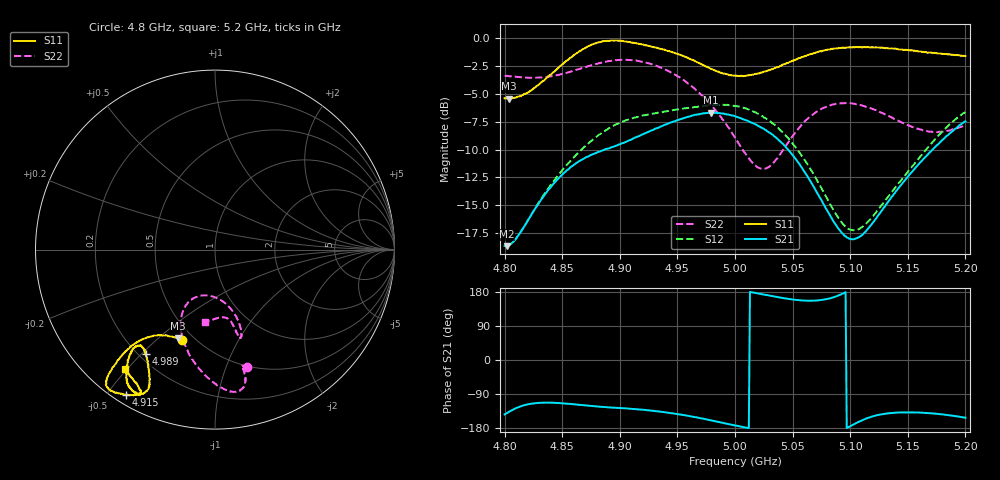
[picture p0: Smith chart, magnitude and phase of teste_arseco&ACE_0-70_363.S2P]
! Network Analyzer HP8722D
! Hewlett-Packard
! Data name: Linha & Wilkinson
! Saver's name: Rodrigo Anjos
! Comments: Teste da utilização de aquisição
! continua pelo VNA HP8722D
! Time and date: 8/5/2025 15:47
!  Frequency  S11  S21  S12  S22
# HZ  S  MA R 50
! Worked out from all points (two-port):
!   401 points, 4.8 GHz to 5.2 GHz, reference 50 ohm
!   highest |S21| = -6.69 dB at 4.979 GHz (marker M1); lowest = -18.7 dB at 4.802 GHz (marker M2)
!   |S21| within 3 dB of the highest: 4.896 GHz to 5.043 GHz (147.3 MHz wide, 2.96 % of centre); 5.174493 GHz to end of sweep
!   lowest |S11| = -5.4 dB at 4.804 GHz (marker M3), VSWR 3.31, Z = 21 - j29.1 ohm
!   |S11| at or under -10 dB: nowhere
!   |S22| runs from -11.7 to -1.9 dB; largest |S21 - S12| = 0.61
!   S11 on the Smith chart (normalised r, x): 4.8 GHz: 0.43, -0.61; 4.915 GHz: 0.03, -0.56; 4.989 GHz: 0.23, -0.51; 5.2 GHz: 0.11, -0.49
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4.8e9  0.5374 -109.8  0.1166 -143.6  0.1167 -87.7  0.6792 -74.7
4.802e9  0.5356 -111.2  0.1163 -140.0  0.1163 -84.0  0.6779 -74.8
4.804e9  0.5355 -112.6  0.1177 -136.4  0.1178 -80.4  0.6747 -75.1
4.834e9  0.6452 -129.1  0.1953 -112.5  0.1977 -53.2  0.6679 -77.0
4.867e9  0.8876 -130.7  0.2848 -118.8  0.3167 -53.1  0.735 -76.6
4.887e9  0.972 -128.5  0.3164 -124.1  0.3829 -57.6  0.7828 -78.2
4.915e9  0.9486 -121.6  0.3609 -130.1  0.443 -66.4  0.7922 -84.4
4.934e9  0.9013 -116.8  0.3973 -136.0  0.4646 -72.0  0.7446 -90.3
4.953e9  0.84 -115.8  0.434 -144.0  0.4803 -78.1  0.6612 -98.2
4.979e9  0.7294 -120.9  0.4628 -159.1  0.4995 -89.0  0.5026 -111.7
4.989e9  0.6967 -123.7  0.4588 -165.6  0.5016 -94.0  0.4328 -116.0
5e9  0.6797 -126.3  0.4459 -172.8  0.4971 -100.1  0.3577 -117.7
5.016e9  0.6862 -128.8  0.4145 177.9  0.4678 -109.5  0.2727 -108.8
5.027e9  0.7108 -129.5  0.3862 171.6  0.436 -115.3  0.2605 -94.0
5.048e9  0.7856 -128.3  0.3079 160.6  0.3465 -125.1  0.3513 -74.4
5.067e9  0.852 -125.3  0.2211 156.6  0.251 -128.0  0.4524 -72.0
5.088e9  0.9016 -122.1  0.1441 168.1  0.161 -115.8  0.5077 -73.2
5.101e9  0.9097 -120.1  0.1252 -173.2  0.1376 -96.5  0.5098 -74.2
5.113e9  0.9126 -118.4  0.1346 -155.4  0.1454 -77.9  0.4937 -74.9
5.134e9  0.9002 -117.4  0.1873 -140.4  0.197 -60.2  0.4458 -76.2
5.17e9  0.862 -121.1  0.3098 -140.6  0.3347 -55.3  0.3809 -82.8
5.2e9  0.8325 -127.1  0.4234 -152.3  0.4665 -65.3  0.407 -98.0
